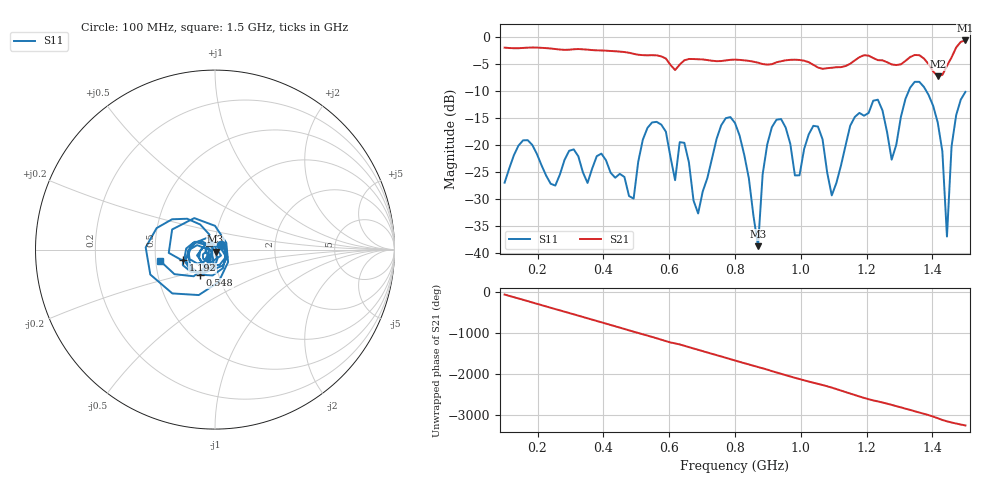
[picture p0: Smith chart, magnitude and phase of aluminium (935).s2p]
! NanoVNA-App
! Date: 2025-09-25 15:02:33
! Start: 100MHz Stop: 1,5GHz Points: 101
! S-Parameter data: F S11 S21 S12 S22
# Hz S RI R 50
!  Frequency  S11_Real  S11_Imag  S21_Real  S21_Imag  S12_Real  S12_Imag  S22_Real  S22_Imag
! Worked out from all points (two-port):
!   101 points, 100 MHz to 1.5 GHz, reference 50 ohm
!   highest |S21| = -0.59 dB at 1.5 GHz (marker M1); lowest = -7.2 dB at 1.416 GHz (marker M2)
!   |S21| within 3 dB of the highest: start of sweep to 577.7 MHz; 1.459 GHz to end of sweep (the widest 2 of 4)
!   lowest |S11| = -38.7 dB at 870 MHz (marker M3), VSWR 1.02, Z = 50.3 - j1.13 ohm
!   |S11| at or under -10 dB: start of sweep to 1.328 GHz; 1.382 GHz to end of sweep
!   S12 and S22 are empty: the file has one direction only
!   S11 on the Smith chart (normalised r, x): 100 MHz: 1.07, +0.06; 548 MHz: 0.82, -0.24; 1.192 GHz: 0.69, -0.08; 1.5 GHz: 0.53, -0.07
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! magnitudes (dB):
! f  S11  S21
! 100 MHz  -27.0  -1.9
! 156 MHz  -19.1  -2.0
! 338 MHz  -25.1  -2.2
! 492 MHz  -29.9  -3.1
! 548 MHz  -15.8  -3.3
! 576 MHz  -16.2  -3.5
! 646 MHz  -19.6  -4.3
! 688 MHz  -32.7  -4.1
! 800 MHz  -15.9  -4.1
! 870 MHz  -38.7  -4.7
! 912 MHz  -16.7  -5.0
! 996 MHz  -25.6  -4.2
! 1.038 GHz  -16.4  -5.1
! 1.094 GHz  -29.3  -5.6
! 1.192 GHz  -14.5  -3.3
! 1.234 GHz  -11.6  -4.2
! 1.276 GHz  -22.7  -5.0
! 1.346 GHz  -8.3  -3.3
! 1.416 GHz  -15.8  -7.2
! 1.444 GHz  -36.9  -5.3
! 1.458 GHz  -20.2  -3.7
! 1.5 GHz  -10.1  -0.6
